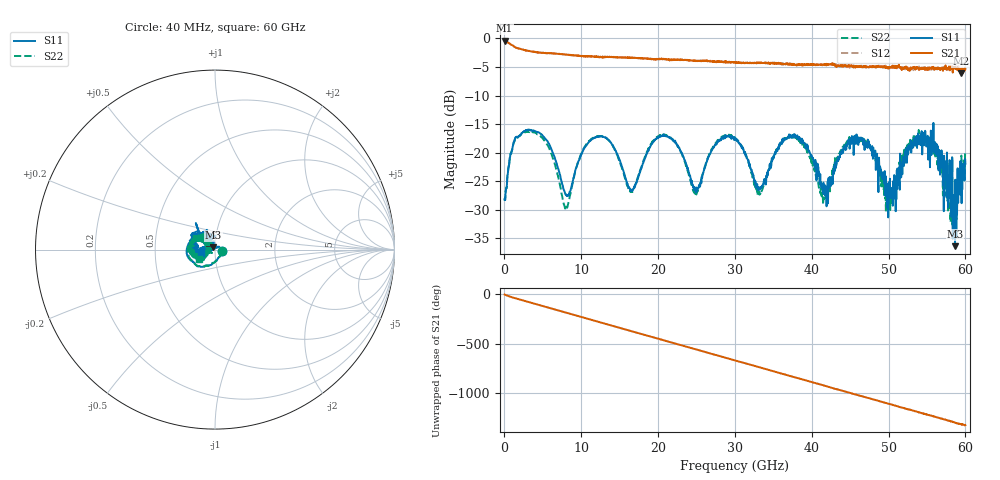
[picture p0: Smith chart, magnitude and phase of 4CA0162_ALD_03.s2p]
! File created by 'SoftPlot +Plus+ Measurement Management Software'
! SoftPlot +Plus+ Measurement Management Software
! Start 40.000000 MHz  Stop 60.000000 GHz  Points 1601
# MHZ S RI R 50
! S-Parameter data, F S11 S21 S12 S22
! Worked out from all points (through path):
!   1601 points, 40 MHz to 60 GHz, reference 50 ohm
!   highest |S21| = -0.37 dB at 40 MHz (marker M1); lowest = -6.1 dB at 59.4 GHz (marker M2)
!   group delay of S21, straight-line fit = 60.9 ps
!   lowest |S11| = -36.4 dB at 58.65 GHz (marker M3), VSWR 1.03, Z = 49.1 + j1.24 ohm
!   |S11| at or under -10 dB: start of sweep to end of sweep
!   |S22| runs from -33.7 to -16.0 dB; largest |S21 - S12| = 0.06
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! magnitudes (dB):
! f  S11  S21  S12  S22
! 40 MHz  -28.1  -0.4  -0.4  -28.4
! 1.239 GHz  -18.1  -1.4  -1.4  -18.2
! 2.626 GHz  -16.2  -2.0  -2.0  -16.4
! 5.699 GHz  -18.2  -2.6  -2.6  -18.8
! 7.985 GHz  -27.3  -2.8  -2.8  -29.9
! 10.05 GHz  -20.3  -3.1  -3.1  -20.1
! 13.27 GHz  -17.5  -3.2  -3.2  -17.4
! 16.53 GHz  -26.5  -3.4  -3.4  -26.7
! 20.05 GHz  -17.3  -3.6  -3.6  -17.1
! 24.89 GHz  -26.3  -3.9  -3.9  -27.2
! 27.47 GHz  -18.6  -4.1  -3.9  -18.3
! 30.02 GHz  -17.6  -4.1  -4.1  -17.3
! 33.13 GHz  -26.2  -4.2  -4.3  -26.9
! 36.84 GHz  -17.4  -4.5  -4.5  -17.3
! 40.03 GHz  -20.6  -4.6  -4.6  -21.3
! 41.71 GHz  -27.4  -4.5  -4.4  -28.1
! 46.43 GHz  -17.4  -4.9  -4.9  -17.1
! 50.03 GHz  -27.3  -5.1  -5.0  -27.5
! 54.53 GHz  -16.8  -5.2  -5.4  -17.4
! 58.65 GHz  -36.4  -5.2  -4.9  -29.5
! 59.4 GHz  -26.6  -6.1  -5.6  -25.4
! 60 GHz  -21.9  -5.3  -5.5  -19.7
